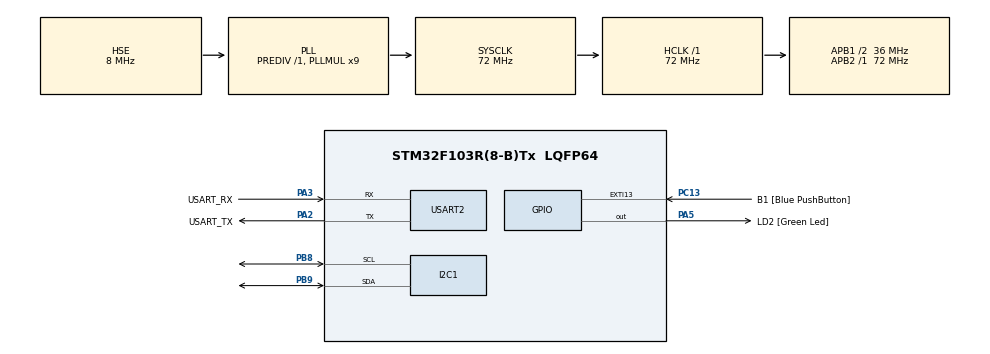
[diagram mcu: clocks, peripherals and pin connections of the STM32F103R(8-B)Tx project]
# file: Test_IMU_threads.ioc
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FREERTOS.Mutexes01=sharedResourcesMutex,Dynamic,NULL
FREERTOS.Tasks01=DataPresent,24,128,data_presentation_thread,Default,NULL,Dynamic,NULL,NULL;DataCollection,24,128,data_collection_thread,Default,NULL,Dynamic,NULL,NULL;DataProcessing,24,128,data_processing_thread,Default,NULL,Dynamic,NULL,NULL
FREERTOS.configGENERATE_RUN_TIME_STATS=1
FREERTOS.configRECORD_STACK_HIGH_ADDRESS=1
Mcu.Family=STM32F1
Mcu.Name=STM32F103R(8-B)Tx
Mcu.Package=LQFP64
NVIC.EXTI15_10_IRQn=true\:5\:0\:false\:false\:true\:true\:true\:true\:true
NVIC.PriorityGroup=NVIC_PRIORITYGROUP_4
NVIC.TIM4_IRQn=true\:15\:0\:false\:false\:true\:false\:false\:true\:true
NVIC.TimeBase=TIM4_IRQn
NVIC.TimeBaseIP=TIM4
PA13.GPIO_Label=TMS
PA13.Mode=Serial_Wire
PA13.Signal=SYS_JTMS-SWDIO
PA14.GPIO_Label=TCK
PA14.Mode=Serial_Wire
PA14.Signal=SYS_JTCK-SWCLK
PA2.GPIO_Label=USART_TX
PA2.GPIO_Mode=GPIO_MODE_AF_PP
PA2.GPIO_PuPd=GPIO_NOPULL
PA2.GPIO_Speed=GPIO_SPEED_FREQ_LOW
PA2.Mode=Asynchronous
PA2.Signal=USART2_TX
PA3.GPIO_Label=USART_RX
PA3.GPIO_Mode=GPIO_MODE_AF_PP
PA3.GPIO_PuPd=GPIO_NOPULL
PA3.GPIO_Speed=GPIO_SPEED_FREQ_LOW
PA3.Mode=Asynchronous
PA3.Signal=USART2_RX
PA5.GPIO_Label=LD2 [Green Led]
PA5.GPIO_ModeDefaultOutputPP=GPIO_MODE_OUTPUT_PP
PA5.GPIO_PuPd=GPIO_NOPULL
PA5.GPIO_Speed=GPIO_SPEED_FREQ_LOW
PA5.Signal=GPIO_Output
PB3.GPIO_Label=SWO
PB3.Signal=SYS_JTDO-TRACESWO
PB8.Mode=I2C
PB8.Signal=I2C1_SCL
PB9.Mode=I2C
PB9.Signal=I2C1_SDA
PC13-TAMPER-RTC.GPIO_Label=B1 [Blue PushButton]
PC13-TAMPER-RTC.GPIO_PuPd=GPIO_NOPULL
PC13-TAMPER-RTC.Signal=GPXTI13
PC14-OSC32_IN.Mode=LSE-External-Oscillator
PC14-OSC32_IN.Signal=RCC_OSC32_IN
PC15-OSC32_OUT.Mode=LSE-External-Oscillator
PC15-OSC32_OUT.Signal=RCC_OSC32_OUT
PD0-OSC_IN.Mode=HSE-External-Clock-Source
PD0-OSC_IN.Signal=RCC_OSC_IN
PD1-OSC_OUT.Mode=HSE-External-Clock-Source
PD1-OSC_OUT.Signal=RCC_OSC_OUT
ProjectManager.HeapSize=0x200
ProjectManager.StackSize=0x400
ProjectManager.TargetToolchain=Makefile
RCC.AHBFreq_Value=72000000
RCC.APB1CLKDivider=RCC_HCLK_DIV2
RCC.APB1Freq_Value=36000000
RCC.APB1TimFreq_Value=72000000
RCC.APB2Freq_Value=72000000
RCC.APB2TimFreq_Value=72000000
RCC.HCLKFreq_Value=72000000
RCC.PLLMUL=RCC_PLL_MUL9
RCC.PLLSourceVirtual=RCC_PLLSOURCE_HSE
RCC.RTCClockSelection=RCC_RTCCLKSOURCE_LSE
RCC.SYSCLKFreq_VALUE=72000000
RCC.SYSCLKSource=RCC_SYSCLKSOURCE_PLLCLK
RCC.USBFreq_Value=72000000
USART2.VirtualMode=VM_ASYNC
VP_FREERTOS_VS_CMSIS_V2.Mode=CMSIS_V2
VP_SYS_VS_tim4.Mode=TIM4
board=NUCLEO-F103RB

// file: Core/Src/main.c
/* USER CODE BEGIN Header */
/**
 ******************************************************************************
 * @file           : main.c
 * @brief          : Main program body
 ******************************************************************************
 * @attention
 *
 * Copyright (c) 2024 STMicroelectronics.
 * All rights reserved.
 *
 * This software is licensed under terms that can be found in the LICENSE file
 * in the root directory of this software component.
 * If no LICENSE file comes with this software, it is provided AS-IS.
 *
 ******************************************************************************
 */
/* USER CODE END Header */
#include "main.h"
#include "cmsis_os.h"

/* USER CODE BEGIN Includes */
#include "math.h"
#include "stdint.h"
#include "stdlib.h"
#include "string.h"
#include "stdio.h"
#include "stts751_temperature_sensor.h"
#include "lsm6dso_imu.h"
#include "math_filter.h"
#include "math_lib.h"
#include "quaternion.h"
#include "sensor_fusion.h"
#include "vector.h"
/* USER CODE END Includes */

I2C_HandleTypeDef hi2c1;

UART_HandleTypeDef huart2;

/* Definitions for DataPresent */
osThreadId_t DataPresentHandle;
const osThreadAttr_t DataPresent_attributes = {
  .name = "DataPresent",
  .stack_size = 256 * 4,
  .priority = (osPriority_t) osPriorityNormal,
};
/* Definitions for DataCollection */
osThreadId_t DataCollectionHandle;
const osThreadAttr_t DataCollection_attributes = {
  .name = "DataCollection",
  .stack_size = 128 * 4,
  .priority = (osPriority_t) osPriorityNormal,
};
/* Definitions for DataProcessing */
osThreadId_t DataProcessingHandle;
const osThreadAttr_t DataProcessing_attributes = {
  .name = "DataProcessing",
  .stack_size = 256 * 4,
  .priority = (osPriority_t) osPriorityNormal,
};
/* Definitions for sharedResourcesMutex */
osMutexId_t sharedResourcesMutexHandle;
const osMutexAttr_t sharedResourcesMutex_attributes = {
  .name = "sharedResourcesMutex"
};
/* USER CODE BEGIN PV */

/* Flight computer RTOS shared recourses */
float temperature = 0.0f;
float imu_vector[6] = {0.0f, 0.0f, 0.0f, 0.0f, 0.0f, 0.0f};
uint8_t lsm6dso_imu_ok = 0;
UART_HandleTypeDef huart2;
int temp_int  = 0;
int gyroX_int = 0;
int gyroY_int = 0;
int gyroZ_int = 0;
int accX_int  = 0;
int accY_int  = 0;
int accZ_int  = 0;
int acceleration_int =0;

quaternion_t quat_orientation  = {1.0f, 0.0f, 0.0f, 0.0f}; // orientation q(n-1) global orientasjon fra forrige ts.
quaternion_t quat_dq_gyro      = {1.0f, 0.0f, 0.0f, 0.0f}; // dq fra gyroskop, utregnet fra nåværende rotasjon.
quaternion_t quat_gyro_orient  = {1.0f, 0.0f, 0.0f, 0.0f}; //

quaternion_t quat_acceleration = {1.0f, 0.0f, 0.0f, 0.0f}; //
quaternion_t quat_acc_vector   = {1.0f, 0.0f, 0.0f, 0.0f};
quaternion_t quat_acc_rotation = {1.0f, 0.0f, 0.0f, 0.0f};

vector_t vec_orientation       = {0.0f, 0.0f, 1.0f};
vector_t vec_angular_speed     = {0.0f, 0.0f, 0.0f};
vector_t vec_norm_acc_angle    = {0.0f, 0.0f, 0.0f};

int speed_int  = 0;
int int_angleX = 0;
int int_angleY = 0;
int int_angleZ = 0;

float acceleration = 0.0f;
float prev_speed   = 0.0f;
float speed        = 0.0f;
float angleX       = 0.0f;
float angleY       = 0.0f;
float angleZ       = 0.0f;

/* Filtered data */
float iir_acceleraion = 0.0f;

float iir_gyroX = 0.0f;
float iir_gyroY = 0.0f;
float iir_gyroZ = 0.0f;
float iir_accX  = 0.0f;
float iir_accY  = 0.0f;
float iir_accZ  = 0.0f;
/* USER CODE END PV */

void SystemClock_Config(void);
static void MX_GPIO_Init(void);
static void MX_I2C1_Init(void);
static void MX_USART2_UART_Init(void);
void data_presentation_thread(void *argument);
void data_collection_thread(void *argument);
void data_processing_thread(void *argument);

/* USER CODE BEGIN 0 */
void print_orientation(char *buffer, int value) {
    int intPart = value / 100;
    int fracPart = abs(value % 100); // Ensure fractional part is always positive

    // Check if the overall value is negative but the integer part is 0 (e.g., -0.08)
    if (value < 0 && intPart == 0) {
        sprintf(buffer, "-0.%02d", fracPart);
    } else {
        sprintf(buffer, "%d.%02d", intPart, fracPart);
    }
}
/* USER CODE END 0 */

int main(void)
{

  /* MCU Configuration--------------------------------------------------------*/

  /* Reset of all peripherals, Initializes the Flash interface and the Systick. */
  HAL_Init();

  /* Configure the system clock */
  SystemClock_Config();

  /* Initialize all configured peripherals */
  MX_GPIO_Init();
  MX_I2C1_Init();
  MX_USART2_UART_Init();
  /* USER CODE BEGIN 2 */
  char resetbuffer[64];
  HAL_UART_Transmit(&huart2, (uint8_t *)resetbuffer, strlen(resetbuffer), 50);
  sprintf(resetbuffer, "Reset\n");
  lsm6dso_imu_ok = lsm6dso_imu_init(&hi2c1);
  /* USER CODE END 2 */

  /* Init scheduler */
  osKernelInitialize();
  /* Create the mutex(es) */
  /* creation of sharedResourcesMutex */
  sharedResourcesMutexHandle = osMutexNew(&sharedResourcesMutex_attributes);

  /* Create the thread(s) */
  /* creation of DataPresent */
  DataPresentHandle = osThreadNew(data_presentation_thread, NULL, &DataPresent_attributes);

  /* creation of DataCollection */
  DataCollectionHandle = osThreadNew(data_collection_thread, NULL, &DataCollection_attributes);

  /* creation of DataProcessing */
  DataProcessingHandle = osThreadNew(data_processing_thread, NULL, &DataProcessing_attributes);

  /* Start scheduler */
  osKernelStart();

  /* We should never get here as control is now taken by the scheduler */
  /* Infinite loop */
  while (1)
  {

  }
}

void SystemClock_Config(void)
{
  RCC_OscInitTypeDef RCC_OscInitStruct = {0};
  RCC_ClkInitTypeDef RCC_ClkInitStruct = {0};

  /** Initializes the RCC Oscillators according to the specified parameters
  * in the RCC_OscInitTypeDef structure.
  */
  RCC_OscInitStruct.OscillatorType = RCC_OSCILLATORTYPE_HSE;
  RCC_OscInitStruct.HSEState = RCC_HSE_BYPASS;
  RCC_OscInitStruct.HSEPredivValue = RCC_HSE_PREDIV_DIV1;
  RCC_OscInitStruct.HSIState = RCC_HSI_ON;
  RCC_OscInitStruct.PLL.PLLState = RCC_PLL_ON;
  RCC_OscInitStruct.PLL.PLLSource = RCC_PLLSOURCE_HSE;
  RCC_OscInitStruct.PLL.PLLMUL = RCC_PLL_MUL9;
  if (HAL_RCC_OscConfig(&RCC_OscInitStruct) != HAL_OK)
  {
    Error_Handler();
  }

  /** Initializes the CPU, AHB and APB buses clocks
  */
  RCC_ClkInitStruct.ClockType = RCC_CLOCKTYPE_HCLK|RCC_CLOCKTYPE_SYSCLK
                              |RCC_CLOCKTYPE_PCLK1|RCC_CLOCKTYPE_PCLK2;
  RCC_ClkInitStruct.SYSCLKSource = RCC_SYSCLKSOURCE_PLLCLK;
  RCC_ClkInitStruct.AHBCLKDivider = RCC_SYSCLK_DIV1;
  RCC_ClkInitStruct.APB1CLKDivider = RCC_HCLK_DIV2;
  RCC_ClkInitStruct.APB2CLKDivider = RCC_HCLK_DIV1;

  if (HAL_RCC_ClockConfig(&RCC_ClkInitStruct, FLASH_LATENCY_2) != HAL_OK)
  {
    Error_Handler();
  }
}

static void MX_I2C1_Init(void)
{

  hi2c1.Instance = I2C1;
  hi2c1.Init.ClockSpeed = 100000;
  hi2c1.Init.DutyCycle = I2C_DUTYCYCLE_2;
  hi2c1.Init.OwnAddress1 = 0;
  hi2c1.Init.AddressingMode = I2C_ADDRESSINGMODE_7BIT;
  hi2c1.Init.DualAddressMode = I2C_DUALADDRESS_DISABLE;
  hi2c1.Init.OwnAddress2 = 0;
  hi2c1.Init.GeneralCallMode = I2C_GENERALCALL_DISABLE;
  hi2c1.Init.NoStretchMode = I2C_NOSTRETCH_DISABLE;
  if (HAL_I2C_Init(&hi2c1) != HAL_OK)
  {
    Error_Handler();
  }

}

static void MX_USART2_UART_Init(void)
{

  huart2.Instance = USART2;
  huart2.Init.BaudRate = 115200;
  huart2.Init.WordLength = UART_WORDLENGTH_8B;
  huart2.Init.StopBits = UART_STOPBITS_1;
  huart2.Init.Parity = UART_PARITY_NONE;
  huart2.Init.Mode = UART_MODE_TX_RX;
  huart2.Init.HwFlowCtl = UART_HWCONTROL_NONE;
  huart2.Init.OverSampling = UART_OVERSAMPLING_16;
  if (HAL_UART_Init(&huart2) != HAL_OK)
  {
    Error_Handler();
  }

}

static void MX_GPIO_Init(void)
{
  GPIO_InitTypeDef GPIO_InitStruct = {0};

  /* GPIO Ports Clock Enable */
  __HAL_RCC_GPIOC_CLK_ENABLE();
  __HAL_RCC_GPIOD_CLK_ENABLE();
  __HAL_RCC_GPIOA_CLK_ENABLE();
  __HAL_RCC_GPIOB_CLK_ENABLE();

  /*Configure GPIO pin Output Level */
  HAL_GPIO_WritePin(LD2_GPIO_Port, LD2_Pin, GPIO_PIN_RESET);

  /*Configure GPIO pin : B1_Pin */
  GPIO_InitStruct.Pin = B1_Pin;
  GPIO_InitStruct.Mode = GPIO_MODE_IT_RISING;
  GPIO_InitStruct.Pull = GPIO_NOPULL;
  HAL_GPIO_Init(B1_GPIO_Port, &GPIO_InitStruct);

  /*Configure GPIO pin : LD2_Pin */
  GPIO_InitStruct.Pin = LD2_Pin;
  GPIO_InitStruct.Mode = GPIO_MODE_OUTPUT_PP;
  GPIO_InitStruct.Pull = GPIO_NOPULL;
  GPIO_InitStruct.Speed = GPIO_SPEED_FREQ_LOW;
  HAL_GPIO_Init(LD2_GPIO_Port, &GPIO_InitStruct);

  /* EXTI interrupt init*/
  HAL_NVIC_SetPriority(EXTI15_10_IRQn, 5, 0);
  HAL_NVIC_EnableIRQ(EXTI15_10_IRQn);

}

/* USER CODE BEGIN Header_data_presentation_thread */
/**
 * @brief  This thread presents the data to the user by printing to COM.
 * @param  argument: Not used
 * @retval None
 */
/* USER CODE END Header_data_presentation_thread */
void data_presentation_thread(void *argument)
{
  /* USER CODE BEGIN 5 */
    char buffer[512]; // Buffer for the entire message
    char temp[64]; // Temporary buffer for individual values  /* Infinite loop */
  for (;;)
  {
  if (osMutexAcquire(sharedResourcesMutexHandle, osWaitForever) == osOK)
  {
    if (1 != lsm6dso_imu_ok) {
          sprintf(buffer, "LSM6DSO init error!");
          HAL_UART_Transmit(&huart2, (uint8_t *)buffer, strlen(buffer), 1000);
          osMutexRelease(sharedResourcesMutexHandle);
          osDelay(1000);
      } else {
          /* Prepare the formatted string for transmission */
          strcpy(buffer, "AccX: ");
          print_orientation(temp, accX_int);
          strcat(buffer, temp);
          strcat(buffer, " g, AccY: ");
          print_orientation(temp, accY_int);
          strcat(buffer, temp);
          strcat(buffer, " g, AccZ: ");
          print_orientation(temp, accZ_int);
          strcat(buffer, temp);
          strcat(buffer, " g, GyroX: ");
          print_orientation(temp, gyroX_int);
          strcat(buffer, temp);
          strcat(buffer, " [rad/s], GyroY: ");
          print_orientation(temp, gyroY_int);
          strcat(buffer, temp);
          strcat(buffer, " [rad/s], GyroZ: ");
          print_orientation(temp, gyroZ_int);
          strcat(buffer, temp);
          strcat(buffer, " [rad/s], Orient_X: ");
          print_orientation(temp, int_angleX);
          strcat(buffer, temp);
          strcat(buffer, " rad, Orient_Y: ");
          print_orientation(temp, int_angleY);
          strcat(buffer, temp);
          strcat(buffer, " rad, Orient_Z: ");
          print_orientation(temp, int_angleZ);
          strcat(buffer, temp);
          strcat(buffer, " rad\r\n");

          /* Transmit the formatted string */
          HAL_UART_Transmit(&huart2, (uint8_t *)buffer, strlen(buffer), 1000);
          osMutexRelease(sharedResourcesMutexHandle);
          osDelay(100);
      }

    }
  }
  /* USER CODE END 5 */
}

void data_collection_thread(void *argument)
{
  /* USER CODE BEGIN data_collection_thread */
  /* Infinite loop */
for (;;)
  {
    if (osMutexAcquire(sharedResourcesMutexHandle, osWaitForever) == osOK)
    {
    stts751_read_temperature(&hi2c1, &temperature);
    lsm6dso_read_imu(&hi2c1, imu_vector);

    osMutexRelease(sharedResourcesMutexHandle);
    osDelay(10);
    }
  }
  /* USER CODE END data_collection_thread */
}

void data_processing_thread(void *argument)
{
  /* USER CODE BEGIN data_processing_thread */
  char buffer[32];
  uint32_t last_tick = 0;
  uint32_t current_tick;
  float delta_time;
  /* Infinite loop */
  for(;;)
  {
  if (osMutexAcquire(sharedResourcesMutexHandle, osWaitForever) == osOK)
  {
    /* Get delta time */
    current_tick = HAL_GetTick();
    delta_time  = (current_tick - last_tick) / 1000.0f; // Convert milliseconds to seconds
    last_tick    = current_tick;

    /* Filter gyro measurements */
    iir_gyroX = IIR_filter(imu_vector[0], iir_gyroX, 1.0f);
    iir_gyroY = IIR_filter(imu_vector[1], iir_gyroY, 1.0f);
    iir_gyroZ = IIR_filter(imu_vector[2], iir_gyroZ, 1.0f);

    /* Accelerometer */
    quat_acc_vector.w = 0.0f;
    quat_acc_vector.x = imu_vector[3];
    quat_acc_vector.y = imu_vector[4];
    quat_acc_vector.z = imu_vector[5] + 1;

    normalize_quaternion(&quat_acc_vector);

    accX_int  = (int)(imu_vector[3] * 100);
    accY_int  = (int)(imu_vector[4] * 100);
    accZ_int  = (int)((imu_vector[5] + 1) * 100);

    /*Konverterer gyro measuremens to rps */
    angleX = dps_to_rps(imu_vector[0]);
    angleY = dps_to_rps(imu_vector[1]);
    angleZ = dps_to_rps(imu_vector[2]);

    /* Gyro to print */
    gyroX_int = (int)(angleX * 100);
    gyroY_int = (int)(angleY * 100);
    gyroZ_int = (int)(angleZ * 100);

    /* put anular speed in a vector
       and calculate orientation quaternion
       based on gyro measurements     */
    vec_angular_speed.x = angleX;
    vec_angular_speed.y = angleY;
    vec_angular_speed.z = angleZ;

    quaternion_from_gyroscope(&quat_dq_gyro, &vec_angular_speed, delta_time); //beregnet rotasjon fra gyroskop dq_gyro

    quat_gyro_orient = multiply_quaternions(quat_dq_gyro, quat_orientation); // gyro orientasjon er produktet av dq_gyro og global orientasjon.

    // rotate_orientation_quaternion(&quat_acceleration, &quat_gyro_orient, &quat_acc_vector); // Hamilton produkt av gyro_orient og kvaternion av aks målinger.

    // lagrer informasjonen fra forrige beregning i en vektor og normaliserer.
    vec_norm_acc_angle.x = quat_acceleration.x;
    vec_norm_acc_angle.y = quat_acceleration.y;
    vec_norm_acc_angle.z = quat_acceleration.z;

    normalize_vector(&vec_norm_acc_angle);

    // quaternion_from_acceleration(&quat_acc_rotation, &vec_norm_acc_angle);

    // quaternion_t quat_accCorr = multiply_quaternions(quat_acc_rotation, quat_gyro_orient);

    vec_orientation = rotate_vector_by_quaternion(vec_orientation, quat_gyro_orient);

    quat_orientation = quat_dq_gyro;

    /* Present angles to COM */
    int_angleX = (int)(vec_orientation.x * 100);
    int_angleY = (int)(vec_orientation.y * 100);
    int_angleZ = (int)(vec_orientation.z * 100);

    osMutexRelease(sharedResourcesMutexHandle);
    osDelay(10);
  }
  }
  /* USER CODE END data_processing_thread */
}

void HAL_TIM_PeriodElapsedCallback(TIM_HandleTypeDef *htim)
{
  if (htim->Instance == TIM4) {
    HAL_IncTick();
  }
}

void Error_Handler(void)
{
  __disable_irq();
  while (1)
  {
  }
}
